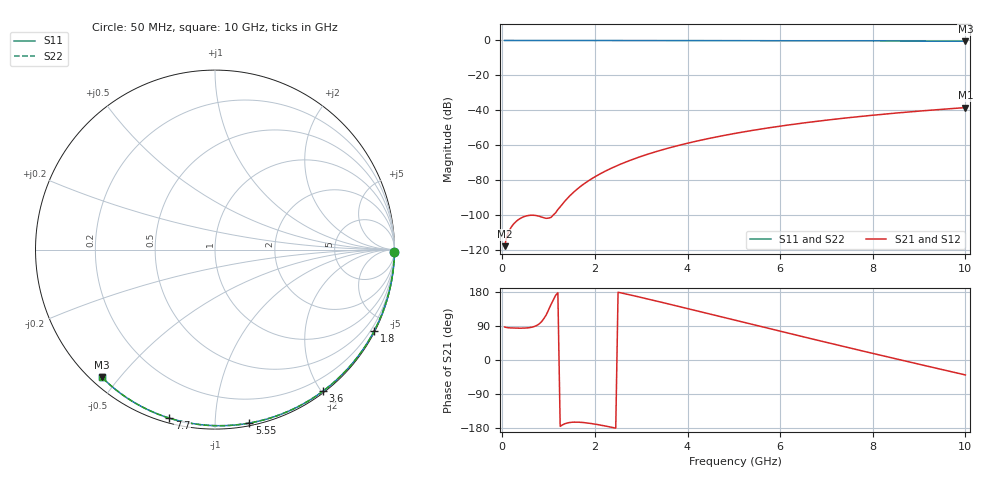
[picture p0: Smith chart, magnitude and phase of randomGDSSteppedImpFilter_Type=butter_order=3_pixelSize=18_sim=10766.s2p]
! freq	dB(S11)	phase(S11)	dB(S12)	phase(S12)
!  dB(S21)	phase(S21)	dB(S22)	phase(S22)
!S-par simulation data
#  GHz  S  DB  R 50
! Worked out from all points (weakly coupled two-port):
!   200 points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, 50 MHz to 10 GHz, reference 50 ohm
!   highest |S21| = -38.44 dB at 10 GHz (marker M1); lowest = -117.7 dB at 50 MHz (marker M2)
!   lowest |S11| = -0.4 dB at 10 GHz (marker M3), VSWR 39.05, Z = 1.54 - j22.5 ohm
!   |S11| at or under -10 dB: nowhere
!   |S22| runs from -0.4 to 0.0 dB; largest |S21 - S12| = 0
!   S11 on the Smith chart (normalised r, x): 50 MHz: open; 1.8 GHz: 0.04, -4.17; 3.6 GHz: 0.02, -2.02; 5.55 GHz: 0.02, -1.22; 7.7 GHz: 0.02, -0.76; 10 GHz: 0.03, -0.45
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0.05  -0.00 -0.8  -117.73 87.1  -117.73 87.1  -0.00 -0.8
0.9  -0.02 -13.6  -101.50 109.7  -101.50 109.7  -0.02 -13.6
1.75  -0.03 -26.2  -82.34 -165.0  -82.34 -165.0  -0.03 -26.2
1.8  -0.03 -27.0  -81.40 -165.7  -81.40 -165.7  -0.03 -27.0
1.85  -0.04 -27.7  -80.51 -166.5  -80.51 -166.5  -0.04 -27.7
1.9  -0.04 -28.4  -79.65 -167.3  -79.65 -167.3  -0.04 -28.4
2.05  -0.04 -30.6  -77.26 -170.2  -77.26 -170.2  -0.04 -30.6
2.25  -0.04 -33.6  -74.45 -174.8  -74.45 -174.8  -0.04 -33.5
2.45  -0.05 -36.4  -71.97 -179.8  -71.97 -179.8  -0.05 -36.4
2.65  -0.05 -39.3  -69.75 174.8  -69.75 174.8  -0.05 -39.3
3  -0.06 -44.3  -66.34 165.0  -66.34 165.0  -0.06 -44.3
3.4  -0.07 -50.0  -63.00 153.5  -63.00 153.5  -0.07 -49.9
3.6  -0.07 -52.7  -61.51 147.6  -61.51 147.6  -0.07 -52.7
4.3  -0.09 -62.3  -57.00 126.8  -57.00 126.8  -0.09 -62.3
5.05  -0.11 -72.3  -53.07 104.3  -53.07 104.3  -0.11 -72.3
5.55  -0.13 -78.8  -50.84 89.4  -50.84 89.4  -0.13 -78.8
6.1  -0.15 -85.7  -48.67 73.0  -48.67 73.0  -0.15 -85.7
6.7  -0.18 -93.2  -46.57 55.3  -46.57 55.3  -0.18 -93.2
7.7  -0.24 -105.2  -43.59 26.1  -43.59 26.1  -0.24 -105.2
8.35  -0.29 -112.8  -41.92 7.4  -41.92 7.4  -0.29 -112.8
9.15  -0.36 -122.0  -40.11 -15.4  -40.11 -15.4  -0.36 -122.0
10  -0.44 -131.6  -38.44 -39.4  -38.44 -39.4  -0.44 -131.6
